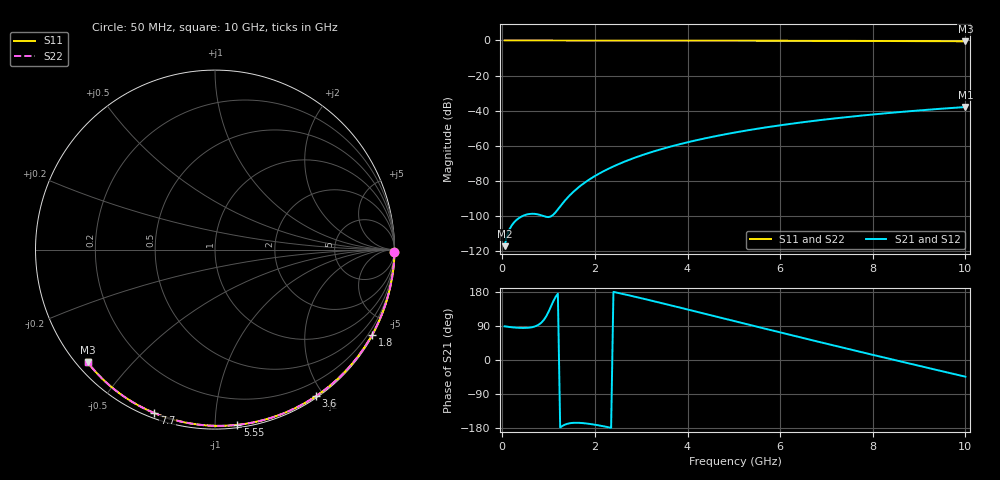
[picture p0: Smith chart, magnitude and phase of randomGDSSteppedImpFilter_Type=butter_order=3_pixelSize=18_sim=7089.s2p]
! freq	dB(S11)	phase(S11)	dB(S12)	phase(S12)
!  dB(S21)	phase(S21)	dB(S22)	phase(S22)
!S-par simulation data
#  GHz  S  DB  R 50
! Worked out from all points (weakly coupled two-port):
!   200 points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, 50 MHz to 10 GHz, reference 50 ohm
!   highest |S21| = -37.89 dB at 10 GHz (marker M1); lowest = -117.1 dB at 50 MHz (marker M2)
!   lowest |S11| = -0.5 dB at 10 GHz (marker M3), VSWR 37.17, Z = 1.54 - j18.9 ohm
!   |S11| at or under -10 dB: nowhere
!   |S22| runs from -0.5 to 0.0 dB; largest |S21 - S12| = 0
!   S11 on the Smith chart (normalised r, x): 50 MHz: open; 1.8 GHz: 0.03, -3.95; 3.6 GHz: 0.02, -1.90; 5.55 GHz: 0.02, -1.14; 7.7 GHz: 0.02, -0.69; 10 GHz: 0.03, -0.38
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0.05  -0.00 -0.8  -117.09 88.9  -117.09 88.9  -0.00 -0.8
0.45  -0.01 -7.2  -99.78 84.6  -99.78 84.6  -0.01 -7.2
0.9  -0.02 -14.3  -100.04 106.2  -100.04 106.2  -0.02 -14.3
1.75  -0.04 -27.6  -81.49 -166.6  -81.49 -166.6  -0.04 -27.6
1.8  -0.04 -28.4  -80.54 -167.3  -80.54 -167.3  -0.04 -28.4
1.85  -0.04 -29.2  -79.64 -168.0  -79.64 -168.0  -0.04 -29.2
2.05  -0.04 -32.2  -76.39 -171.8  -76.39 -171.8  -0.04 -32.2
2.25  -0.05 -35.3  -73.57 -176.4  -73.57 -176.4  -0.05 -35.3
2.55  -0.05 -39.9  -69.94 175.8  -69.94 175.8  -0.05 -39.9
2.95  -0.06 -45.9  -65.91 164.6  -65.91 164.6  -0.06 -45.9
3.4  -0.07 -52.5  -62.13 151.4  -62.13 151.4  -0.07 -52.5
3.6  -0.07 -55.4  -60.64 145.4  -60.64 145.4  -0.07 -55.4
3.9  -0.08 -59.8  -58.60 136.4  -58.60 136.4  -0.08 -59.8
4.3  -0.09 -65.5  -56.16 124.3  -56.16 124.3  -0.09 -65.5
5.05  -0.12 -75.9  -52.27 101.5  -52.27 101.5  -0.12 -75.9
5.55  -0.14 -82.7  -50.06 86.4  -50.06 86.4  -0.14 -82.7
6.1  -0.16 -90.0  -47.91 69.8  -47.91 69.8  -0.16 -90.0
6.7  -0.19 -97.8  -45.85 51.9  -45.85 51.9  -0.19 -97.8
7.7  -0.25 -110.4  -42.91 22.4  -42.91 22.4  -0.25 -110.4
8.35  -0.30 -118.4  -41.28 3.4  -41.28 3.4  -0.30 -118.4
9.2  -0.38 -128.8  -39.41 -21.1  -39.41 -21.1  -0.38 -128.8
10  -0.47 -138.5  -37.89 -44.1  -37.89 -44.1  -0.47 -138.5
